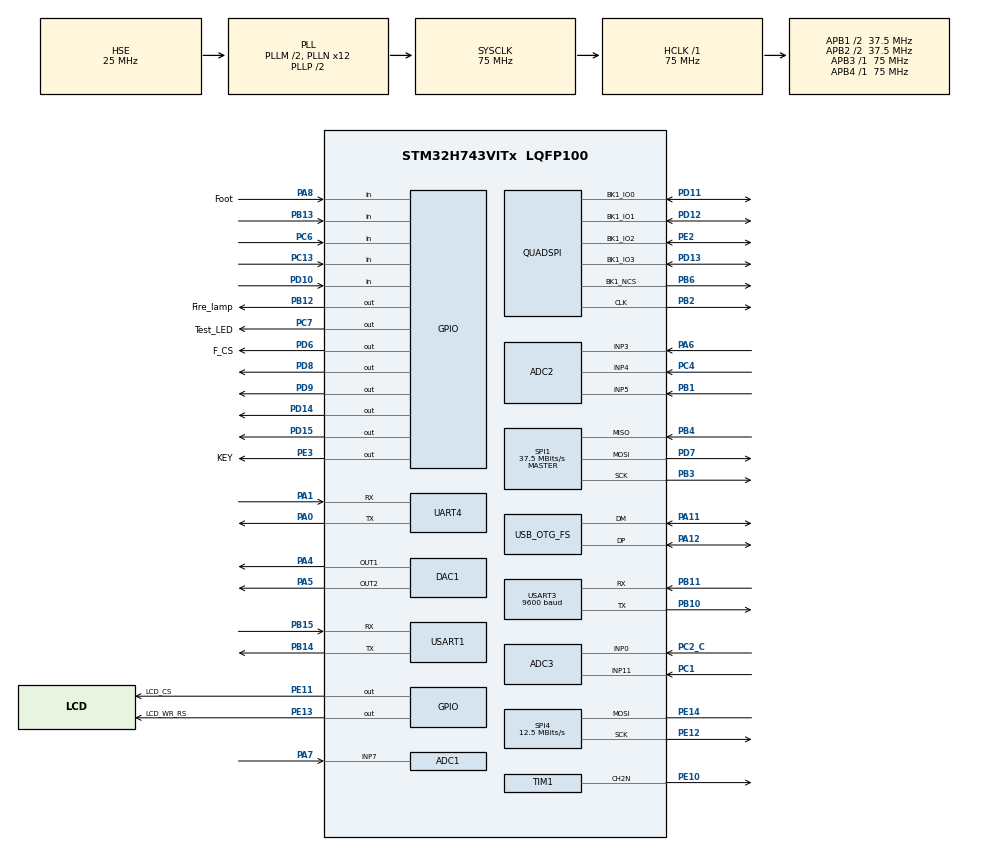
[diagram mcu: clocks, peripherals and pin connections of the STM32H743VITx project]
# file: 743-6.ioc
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ADC1.Channel-3\#ChannelRegularConversion=ADC_CHANNEL_7
ADC1.ClockPrescaler=ADC_CLOCK_ASYNC_DIV4
ADC1.NbrOfConversionFlag=1
ADC1.OffsetNumber-3\#ChannelRegularConversion=ADC_OFFSET_NONE
ADC1.OffsetSignedSaturation-3\#ChannelRegularConversion=DISABLE
ADC1.Rank-3\#ChannelRegularConversion=1
ADC1.SamplingTime-3\#ChannelRegularConversion=ADC_SAMPLETIME_1CYCLE_5
ADC1.master=1
ADC2.Channel-0\#ChannelRegularConversion=ADC_CHANNEL_3
ADC2.ClockPrescaler=ADC_CLOCK_ASYNC_DIV4
ADC2.NbrOfConversionFlag=1
ADC2.OffsetNumber-0\#ChannelRegularConversion=ADC_OFFSET_NONE
ADC2.OffsetSignedSaturation-0\#ChannelRegularConversion=DISABLE
ADC2.Rank-0\#ChannelRegularConversion=1
ADC2.SamplingTime-0\#ChannelRegularConversion=ADC_SAMPLETIME_1CYCLE_5
ADC3.Channel-1\#ChannelRegularConversion=ADC_CHANNEL_11
ADC3.ClockPrescaler=ADC_CLOCK_ASYNC_DIV4
ADC3.NbrOfConversionFlag=1
ADC3.OffsetNumber-1\#ChannelRegularConversion=ADC_OFFSET_NONE
ADC3.OffsetSignedSaturation-1\#ChannelRegularConversion=DISABLE
ADC3.Rank-1\#ChannelRegularConversion=1
ADC3.SamplingTime-1\#ChannelRegularConversion=ADC_SAMPLETIME_1CYCLE_5
DAC1.DAC_Channel-DAC_OUT1_ExtAndInt=DAC_CHANNEL_1
DAC1.DAC_Channel-DAC_OUT2_ExtAndInt=DAC_CHANNEL_2
FREERTOS.Tasks01=defaultTask,0,128,StartDefaultTask,Default,NULL,Dynamic,NULL,NULL;myTask02,0,256,StartTask02,Default,NULL,Dynamic,NULL,NULL;myTask03,0,128,StartTask03,Default,NULL,Dynamic,NULL,NULL;myTask04,0,128,StartTask04,Default,NULL,Dynamic,NULL,NULL;myTask05,0,128,StartTask05,Default,NULL,Dynamic,NULL,NULL;myTask06,0,128,StartTask06,Default,NULL,Dynamic,NULL,NULL;myTask07,0,128,StartTask07,Default,NULL,Dynamic,NULL,NULL;myTask08,0,128,StartTask08,Default,NULL,Dynamic,NULL,NULL
FREERTOS.configUSE_NEWLIB_REENTRANT=1
Mcu.Family=STM32H7
Mcu.Name=STM32H743VITx
Mcu.Package=LQFP100
NVIC.OTG_FS_IRQn=true\:5\:0\:true\:false\:true\:true\:false\:true
NVIC.PriorityGroup=NVIC_PRIORITYGROUP_4
NVIC.TIM17_IRQn=true\:15\:0\:false\:false\:true\:false\:false\:true
NVIC.TimeBase=TIM17_IRQn
NVIC.TimeBaseIP=TIM17
NVIC.UART4_IRQn=true\:5\:0\:false\:true\:true\:3\:true\:true\:true
NVIC.USART1_IRQn=true\:5\:0\:false\:true\:true\:1\:true\:true\:true
NVIC.USART3_IRQn=true\:5\:0\:false\:true\:true\:2\:true\:true\:true
PA0.Mode=Asynchronous
PA0.Signal=UART4_TX
PA1.Mode=Asynchronous
PA1.Signal=UART4_RX
PA11.Mode=Device_Only
PA11.Signal=USB_OTG_FS_DM
PA12.Mode=Device_Only
PA12.Signal=USB_OTG_FS_DP
PA13\ (JTMS/SWDIO).Mode=Serial_Wire
PA13\ (JTMS/SWDIO).Signal=DEBUG_JTMS-SWDIO
PA14\ (JTCK/SWCLK).Mode=Serial_Wire
PA14\ (JTCK/SWCLK).Signal=DEBUG_JTCK-SWCLK
PA4.Signal=COMP_DAC11_group
PA5.Signal=COMP_DAC12_group
PA6.Signal=ADCx_INP3
PA7.Signal=ADCx_INP7
PA8.GPIO_Label=Foot
PA8.Signal=GPIO_Input
PB1.Signal=ADCx_INP5
PB10.Mode=Asynchronous
PB10.Signal=USART3_TX
PB11.Mode=Asynchronous
PB11.Signal=USART3_RX
PB12.GPIO_Label=Fire_lamp
PB12.Signal=GPIO_Output
PB13.Signal=GPIO_Input
PB14.Mode=Asynchronous
PB14.Signal=USART1_TX
PB15.Mode=Asynchronous
PB15.Signal=USART1_RX
PB2.GPIO_Speed=GPIO_SPEED_FREQ_VERY_HIGH
PB2.Mode=Single Bank 1
PB2.Signal=QUADSPI_CLK
PB3\ (JTDO/TRACESWO).GPIO_Speed=GPIO_SPEED_FREQ_MEDIUM
PB3\ (JTDO/TRACESWO).Mode=Full_Duplex_Master
PB3\ (JTDO/TRACESWO).Signal=SPI1_SCK
PB4\ (NJTRST).GPIO_Speed=GPIO_SPEED_FREQ_MEDIUM
PB4\ (NJTRST).Mode=Full_Duplex_Master
PB4\ (NJTRST).Signal=SPI1_MISO
PB6.GPIO_FM6=SYSCFG_PMCR_I2C_PB6_FMP
PB6.GPIO_Speed=GPIO_SPEED_FREQ_VERY_HIGH
PB6.Mode=Single Bank 1
PB6.Signal=QUADSPI_BK1_NCS
PC1.Signal=ADCx_INP11
PC10.Signal=SDMMC1_D2
PC11.Signal=SDMMC1_D3
PC12.Signal=SDMMC1_CK
PC13.Signal=GPIO_Input
PC14-OSC32_IN\ (OSC32_IN).Mode=LSE-External-Oscillator
PC14-OSC32_IN\ (OSC32_IN).Signal=RCC_OSC32_IN
PC15-OSC32_OUT\ (OSC32_OUT).Mode=LSE-External-Oscillator
PC15-OSC32_OUT\ (OSC32_OUT).Signal=RCC_OSC32_OUT
PC2_C.Mode=IN0-Single-Ended
PC2_C.Signal=ADC3_INP0
PC4.Signal=ADCx_INP4
PC6.Signal=GPIO_Input
PC7.GPIO_Label=Test_LED
PC7.GPIO_PuPd=GPIO_PULLDOWN
PC7.PinState=GPIO_PIN_RESET
PC7.Signal=GPIO_Output
PC8.Signal=SDMMC1_D0
PC9.Signal=SDMMC1_D1
PD10.Signal=GPIO_Input
PD11.GPIO_Speed=GPIO_SPEED_FREQ_VERY_HIGH
PD11.Mode=Single Bank 1
PD11.Signal=QUADSPI_BK1_IO0
PD12.GPIO_Speed=GPIO_SPEED_FREQ_VERY_HIGH
PD12.Mode=Single Bank 1
PD12.Signal=QUADSPI_BK1_IO1
PD13.GPIO_Speed=GPIO_SPEED_FREQ_VERY_HIGH
PD13.Mode=Single Bank 1
PD13.Signal=QUADSPI_BK1_IO3
PD14.Signal=GPIO_Output
PD15.Signal=GPIO_Output
PD2.Signal=SDMMC1_CMD
PD6.GPIO_Label=F_CS
PD6.GPIO_Speed=GPIO_SPEED_FREQ_VERY_HIGH
PD6.PinState=GPIO_PIN_SET
PD6.Signal=GPIO_Output
PD7.GPIO_Speed=GPIO_SPEED_FREQ_MEDIUM
PD7.Mode=Full_Duplex_Master
PD7.Signal=SPI1_MOSI
PD8.Signal=GPIO_Output
PD9.Signal=GPIO_Output
PE10.Mode=PWM Generation2 CH2N
PE10.Signal=TIM1_CH2N
PE11.GPIO_Label=LCD_CS
PE11.GPIO_Speed=GPIO_SPEED_FREQ_VERY_HIGH
PE11.PinState=GPIO_PIN_SET
PE11.Signal=GPIO_Output
PE12.GPIO_Speed=GPIO_SPEED_FREQ_MEDIUM
PE12.Mode=Simplex_Bidirectional_Master
PE12.Signal=SPI4_SCK
PE13.GPIO_Label=LCD_WR_RS
PE13.GPIO_Speed=GPIO_SPEED_FREQ_VERY_HIGH
PE13.PinState=GPIO_PIN_SET
PE13.Signal=GPIO_Output
PE14.GPIO_Speed=GPIO_SPEED_FREQ_MEDIUM
PE14.Mode=Simplex_Bidirectional_Master
PE14.Signal=SPI4_MOSI
PE2.GPIO_Speed=GPIO_SPEED_FREQ_VERY_HIGH
PE2.Mode=Single Bank 1
PE2.Signal=QUADSPI_BK1_IO2
PE3.GPIO_Label=KEY
PE3.Signal=GPIO_Output
PH0-OSC_IN\ (PH0).Mode=HSE-External-Oscillator
PH0-OSC_IN\ (PH0).Signal=RCC_OSC_IN
PH1-OSC_OUT\ (PH1).Mode=HSE-External-Oscillator
PH1-OSC_OUT\ (PH1).Signal=RCC_OSC_OUT
ProjectManager.HeapSize=0x2000
ProjectManager.StackSize=0x2000
ProjectManager.TargetToolchain=STM32CubeIDE
QUADSPI.ChipSelectHighTime=QSPI_CS_HIGH_TIME_3_CYCLE
QUADSPI.ClockMode=QSPI_CLOCK_MODE_3
QUADSPI.ClockPrescaler=2-1
QUADSPI.FlashSize=23-1
QUADSPI.SampleShifting=QSPI_SAMPLE_SHIFTING_HALFCYCLE
RCC.ADCFreq_Value=37500000
RCC.APB1Freq_Value=37500000
RCC.APB2Freq_Value=37500000
RCC.APB3Freq_Value=75000000
RCC.APB4Freq_Value=75000000
RCC.CortexFreq_Value=75000000
RCC.D2PPRE1=RCC_APB1_DIV2
RCC.D2PPRE2=RCC_APB2_DIV2
RCC.DIVM1=2
RCC.DIVM2=2
RCC.DIVM3=2
RCC.DIVN1=12
RCC.DIVN2=12
RCC.DIVN3=12
RCC.DIVP2=4
RCC.DIVP3=5
RCC.DIVQ3=3
RCC.HCLKFreq_Value=75000000
RCC.PLL2FRACN=0
RCC.PLL3FRACN=0
RCC.PLLFRACN=0
RCC.PLLSourceVirtual=RCC_PLLSOURCE_HSE
RCC.RTCClockSelection=RCC_RTCCLKSOURCE_LSE
RCC.SYSCLKFreq_VALUE=75000000
RCC.SYSCLKSource=RCC_SYSCLKSOURCE_PLLCLK
RCC.Spi45ClockSelection=RCC_SPI45CLKSOURCE_PLL3
RCC.SupplySource=PWR_LDO_SUPPLY
RCC.USBCLockSelection=RCC_USBCLKSOURCE_PLL3
RCC.USBFreq_Value=50000000
RTC.HourFormat=RTC_HOURFORMAT_12
SH.ADCx_INP11.0=ADC3_INP11,IN11-Single-Ended
SH.ADCx_INP3.0=ADC2_INP3,IN3-Single-Ended
SH.ADCx_INP4.0=ADC2_INP4,IN4-Single-Ended
SH.ADCx_INP5.0=ADC2_INP5,IN5-Single-Ended
SH.ADCx_INP7.0=ADC1_INP7,IN7-Single-Ended
SH.COMP_DAC11_group.0=DAC1_OUT1,DAC_OUT1_ExtAndInt
SH.COMP_DAC12_group.0=DAC1_OUT2,DAC_OUT2_ExtAndInt
SPI1.BaudRatePrescaler=SPI_BAUDRATEPRESCALER_2
SPI1.CLKPolarity=SPI_POLARITY_LOW
SPI1.CalculateBaudRate=37.5 MBits/s
SPI1.DataSize=SPI_DATASIZE_8BIT
SPI1.Direction=SPI_DIRECTION_2LINES
SPI1.Mode=SPI_MODE_MASTER
SPI1.VirtualType=VM_MASTER
SPI4.BaudRatePrescaler=SPI_BAUDRATEPRESCALER_4
SPI4.CLKPolarity=SPI_POLARITY_LOW
SPI4.CalculateBaudRate=12.5 MBits/s
SPI4.DataSize=SPI_DATASIZE_8BIT
SPI4.Direction=SPI_DIRECTION_1LINE
SPI4.Mode=SPI_MODE_MASTER
SPI4.VirtualType=VM_MASTER
TIM1.Channel-PWM\ Generation2\ CH2N=TIM_CHANNEL_2
TIM1.OCNPolarity_2=TIM_OCNPOLARITY_LOW
TIM1.Period=100-1
TIM1.Prescaler=120-1
USART1.VirtualMode-Asynchronous=VM_ASYNC
USART3.BaudRate=9600
USART3.VirtualMode-Asynchronous=VM_ASYNC
USB_DEVICE.CLASS_NAME_FS=CDC
USB_DEVICE.VirtualMode-CDC_FS=Cdc
USB_DEVICE.VirtualModeFS=Cdc_FS
USB_OTG_FS.VirtualMode=Device_Only
USB_OTG_FS.dma_enable=ENABLE
VP_FREERTOS_VS_CMSIS_V1.Mode=CMSIS_V1
VP_RTC_VS_RTC_Activate.Mode=RTC_Enabled
VP_SYS_VS_tim17.Mode=TIM17
VP_USB_DEVICE_VS_USB_DEVICE_CDC_FS.Mode=CDC_FS
board=custom

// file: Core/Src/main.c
/* USER CODE BEGIN Header */
/**
  ******************************************************************************
  * @file           : main.c
  * @brief          : Main program body
  ******************************************************************************
  * @attention
  *
  * <h2><center>&copy; Copyright (c) 2021 STMicroelectronics.
  * All rights reserved.</center></h2>
  *
  * This software component is licensed by ST under Ultimate Liberty license
  * SLA0044, the "License"; You may not use this file except in compliance with
  * the License. You may obtain a copy of the License at:
  *                             www.st.com/SLA0044
  *
  ******************************************************************************
  */
/* USER CODE END Header */
#include "main.h"
#include "cmsis_os.h"
#include "adc.h"
#include "dac.h"
#include "rtc.h"
#include "spi.h"
#include "tim.h"
#include "usart.h"
#include "usb_device.h"
#include "gpio.h"

/* USER CODE BEGIN Includes */
#include "lcd.h"
#include <stdio.h>
#include <usbd_cdc_if.h>
#include "sound.h"

#include <time.h>
#include <stdlib.h>
#include <string.h>
// #include "parameter.h"

/* USER CODE END Includes */

/* USER CODE BEGIN PTD */
//void init_uart(uart_t *u);

/* USER CODE END PTD */

void SystemClock_Config(void);
void PeriphCommonClock_Config(void);
void MX_FREERTOS_Init(void);
static void MX_NVIC_Init(void);
/* USER CODE BEGIN PFP */

int _write(int fd, char *str, int len) {
	CDC_Transmit_FS((uint8_t*)str, len);
	return len;
}

/*
int _write(int file, unsigned char* p, int len)
{
	HAL_StatusTypeDef status= HAL_UART_Transmit(&huart3, p, len,100);
	return(status == HAL_OK? len :0);
}
*/
/* USER CODE END PFP */

/* USER CODE BEGIN 0 */
static void CPU_CACHE_Enable(void)
{
  /* Enable I-Cache */
  SCB_EnableICache();

  /* Enable D-Cache */
  SCB_EnableDCache();
}

static void LED_Blink(uint32_t Hdelay,uint32_t Ldelay)
{
	HAL_GPIO_WritePin(KEY_GPIO_Port,KEY_Pin,GPIO_PIN_SET);
	HAL_Delay(Hdelay - 1);
	HAL_GPIO_WritePin(KEY_GPIO_Port,KEY_Pin,GPIO_PIN_RESET);
	HAL_Delay(Ldelay-1);
}

void init_uart(uart_t *u)
{
	u->head = 0;
	u->tail = 0;
	memset(u->buffer, 0, sizeof(u->buffer));
}

/**
  * @brief  Get the current time and date.
  * @param
  * @retval None
  */

/* USER CODE END 0 */

int main(void)
{
  /* USER CODE BEGIN 1 */

	HAL_Init();

#ifdef W25Qxx
  SCB->VTOR = QSPI_BASE;
#endif
//MPU_Config();
//CPU_CACHE_Enable();

  /* USER CODE END 1 */

  /* MCU Configuration--------------------------------------------------------*/

  /* Reset of all peripherals, Initializes the Flash interface and the Systick. */
  HAL_Init();

  /* Configure the system clock */
  SystemClock_Config();

/* Configure the peripherals common clocks */
  PeriphCommonClock_Config();

  /* USER CODE BEGIN SysInit */
	uint8_t text[20];
	RTC_DateTypeDef sdatestructureget  ;
	RTC_TimeTypeDef stimestructureget  ;
  /* USER CODE END SysInit */

  /* Initialize all configured peripherals */
  MX_GPIO_Init();
  MX_RTC_Init();
  MX_SPI1_Init();
  MX_SPI4_Init();
  MX_TIM1_Init();
  MX_UART4_Init();
  MX_USART1_UART_Init();
  MX_USART3_UART_Init();
  MX_ADC3_Init();
  MX_ADC2_Init();
  MX_DAC1_Init();
  MX_ADC1_Init();

  /* Initialize interrupts */
  MX_NVIC_Init();
  /* USER CODE BEGIN 2 */
	init_uart(&uart_1);
	init_uart(&uart_4);
	HAL_UART_Receive_IT(&huart1, &rx1_data, 1);
	HAL_UART_Receive_IT(&huart4, &rx4_data, 1);

	printf("Hello \n\r");

	volume(0x15);
 	LCD_Test();
  /* USER CODE END 2 */

  /* Call init function for freertos objects (in freertos.c) */
  MX_FREERTOS_Init();
  /* Start scheduler */
  osKernelStart();

  /* We should never get here as control is now taken by the scheduler */
  /* Infinite loop */
  while (1)
  {

  }
}

void SystemClock_Config(void)
{
  RCC_OscInitTypeDef RCC_OscInitStruct = {0};
  RCC_ClkInitTypeDef RCC_ClkInitStruct = {0};

  /** Supply configuration update enable
  */
  HAL_PWREx_ConfigSupply(PWR_LDO_SUPPLY);
  /** Configure the main internal regulator output voltage
  */
  __HAL_PWR_VOLTAGESCALING_CONFIG(PWR_REGULATOR_VOLTAGE_SCALE3);

  while(!__HAL_PWR_GET_FLAG(PWR_FLAG_VOSRDY)) {}
  /** Configure LSE Drive Capability
  */
  HAL_PWR_EnableBkUpAccess();
  __HAL_RCC_LSEDRIVE_CONFIG(RCC_LSEDRIVE_LOW);
  /** Macro to configure the PLL clock source
  */
  __HAL_RCC_PLL_PLLSOURCE_CONFIG(RCC_PLLSOURCE_HSE);
  /** Initializes the RCC Oscillators according to the specified parameters
  * in the RCC_OscInitTypeDef structure.
  */
  RCC_OscInitStruct.OscillatorType = RCC_OSCILLATORTYPE_HSE|RCC_OSCILLATORTYPE_LSE;
  RCC_OscInitStruct.HSEState = RCC_HSE_ON;
  RCC_OscInitStruct.LSEState = RCC_LSE_ON;
  RCC_OscInitStruct.PLL.PLLState = RCC_PLL_ON;
  RCC_OscInitStruct.PLL.PLLSource = RCC_PLLSOURCE_HSE;
  RCC_OscInitStruct.PLL.PLLM = 2;
  RCC_OscInitStruct.PLL.PLLN = 12;
  RCC_OscInitStruct.PLL.PLLP = 2;
  RCC_OscInitStruct.PLL.PLLQ = 2;
  RCC_OscInitStruct.PLL.PLLR = 2;
  RCC_OscInitStruct.PLL.PLLRGE = RCC_PLL1VCIRANGE_3;
  RCC_OscInitStruct.PLL.PLLVCOSEL = RCC_PLL1VCOMEDIUM;
  RCC_OscInitStruct.PLL.PLLFRACN = 0;
  if (HAL_RCC_OscConfig(&RCC_OscInitStruct) != HAL_OK)
  {
    Error_Handler();
  }
  /** Initializes the CPU, AHB and APB buses clocks
  */
  RCC_ClkInitStruct.ClockType = RCC_CLOCKTYPE_HCLK|RCC_CLOCKTYPE_SYSCLK
                              |RCC_CLOCKTYPE_PCLK1|RCC_CLOCKTYPE_PCLK2
                              |RCC_CLOCKTYPE_D3PCLK1|RCC_CLOCKTYPE_D1PCLK1;
  RCC_ClkInitStruct.SYSCLKSource = RCC_SYSCLKSOURCE_PLLCLK;
  RCC_ClkInitStruct.SYSCLKDivider = RCC_SYSCLK_DIV1;
  RCC_ClkInitStruct.AHBCLKDivider = RCC_HCLK_DIV1;
  RCC_ClkInitStruct.APB3CLKDivider = RCC_APB3_DIV1;
  RCC_ClkInitStruct.APB1CLKDivider = RCC_APB1_DIV2;
  RCC_ClkInitStruct.APB2CLKDivider = RCC_APB2_DIV2;
  RCC_ClkInitStruct.APB4CLKDivider = RCC_APB4_DIV1;

  if (HAL_RCC_ClockConfig(&RCC_ClkInitStruct, FLASH_LATENCY_1) != HAL_OK)
  {
    Error_Handler();
  }
}

void PeriphCommonClock_Config(void)
{
  RCC_PeriphCLKInitTypeDef PeriphClkInitStruct = {0};

  /** Initializes the peripherals clock
  */
  PeriphClkInitStruct.PeriphClockSelection = RCC_PERIPHCLK_USB|RCC_PERIPHCLK_ADC
                              |RCC_PERIPHCLK_SPI4;
  PeriphClkInitStruct.PLL2.PLL2M = 2;
  PeriphClkInitStruct.PLL2.PLL2N = 12;
  PeriphClkInitStruct.PLL2.PLL2P = 4;
  PeriphClkInitStruct.PLL2.PLL2Q = 2;
  PeriphClkInitStruct.PLL2.PLL2R = 2;
  PeriphClkInitStruct.PLL2.PLL2RGE = RCC_PLL2VCIRANGE_3;
  PeriphClkInitStruct.PLL2.PLL2VCOSEL = RCC_PLL2VCOMEDIUM;
  PeriphClkInitStruct.PLL2.PLL2FRACN = 0;
  PeriphClkInitStruct.PLL3.PLL3M = 2;
  PeriphClkInitStruct.PLL3.PLL3N = 12;
  PeriphClkInitStruct.PLL3.PLL3P = 5;
  PeriphClkInitStruct.PLL3.PLL3Q = 3;
  PeriphClkInitStruct.PLL3.PLL3R = 2;
  PeriphClkInitStruct.PLL3.PLL3RGE = RCC_PLL3VCIRANGE_3;
  PeriphClkInitStruct.PLL3.PLL3VCOSEL = RCC_PLL3VCOMEDIUM;
  PeriphClkInitStruct.PLL3.PLL3FRACN = 0;
  PeriphClkInitStruct.Spi45ClockSelection = RCC_SPI45CLKSOURCE_PLL3;
  PeriphClkInitStruct.UsbClockSelection = RCC_USBCLKSOURCE_PLL3;
  PeriphClkInitStruct.AdcClockSelection = RCC_ADCCLKSOURCE_PLL2;
  if (HAL_RCCEx_PeriphCLKConfig(&PeriphClkInitStruct) != HAL_OK)
  {
    Error_Handler();
  }
}

/**
  * @brief NVIC Configuration.
  * @retval None
  */
static void MX_NVIC_Init(void)
{
  /* USART1_IRQn interrupt configuration */
  HAL_NVIC_SetPriority(USART1_IRQn, 5, 0);
  HAL_NVIC_EnableIRQ(USART1_IRQn);
  /* USART3_IRQn interrupt configuration */
  HAL_NVIC_SetPriority(USART3_IRQn, 5, 0);
  HAL_NVIC_EnableIRQ(USART3_IRQn);
  /* UART4_IRQn interrupt configuration */
  HAL_NVIC_SetPriority(UART4_IRQn, 5, 0);
  HAL_NVIC_EnableIRQ(UART4_IRQn);
}

void HAL_TIM_PeriodElapsedCallback(TIM_HandleTypeDef *htim)
{
  if (htim->Instance == TIM17) {
    HAL_IncTick();
  }
}

void Error_Handler(void)
{
  __disable_irq();
  while (1)
  {
  }
}

/************************ (C) COPYRIGHT STMicroelectronics *****END OF FILE****/

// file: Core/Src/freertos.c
/* USER CODE BEGIN Header */
/**
  ******************************************************************************
  * File Name          : freertos.c
  * Description        : Code for freertos applications
  ******************************************************************************
  * @attention
  *
  * <h2><center>&copy; Copyright (c) 2021 STMicroelectronics.
  * All rights reserved.</center></h2>
  *
  * This software component is licensed by ST under Ultimate Liberty license
  * SLA0044, the "License"; You may not use this file except in compliance with
  * the License. You may obtain a copy of the License at:
  *                             www.st.com/SLA0044
  *
  ******************************************************************************
  */
/* USER CODE END Header */

#include "FreeRTOS.h"
#include "task.h"
#include "main.h"
#include "cmsis_os.h"

/* USER CODE BEGIN Includes */
#include "rtc.h"
#include "usart.h"
#include "parameter.h"
#include "hardware.h"

/* USER CODE END Includes */

/* USER CODE BEGIN PTD */
	uint8_t text[20];
	RTC_DateTypeDef sdatestructureget  ;
	RTC_TimeTypeDef stimestructureget  ;
/* USER CODE END PTD */

/* USER CODE BEGIN PD */

	void push(uart_t *u, uint8_t data);
	uint8_t pop(uart_t *u);
	uint8_t isEmpty(uart_t *u);
	float ttt;
/* USER CODE END PD */

osThreadId defaultTaskHandle;
osThreadId myTask02Handle;
osThreadId myTask03Handle;
osThreadId myTask04Handle;
osThreadId myTask05Handle;
osThreadId myTask06Handle;
osThreadId myTask07Handle;
osThreadId myTask08Handle;

/* USER CODE BEGIN FunctionPrototypes */

static void RTC_CalendarShow(RTC_DateTypeDef *sdatestructureget,RTC_TimeTypeDef *stimestructureget)
{
   /* Both time and date must be obtained or RTC cannot be read next time */
  /* Get the RTC current Time */
  HAL_RTC_GetTime(&hrtc, stimestructureget, RTC_FORMAT_BIN);
  /* Get the RTC current Date */
  HAL_RTC_GetDate(&hrtc, sdatestructureget, RTC_FORMAT_BIN);
}
/* USER CODE END FunctionPrototypes */

void StartDefaultTask(void const * argument);
void StartTask02(void const * argument);
void StartTask03(void const * argument);
void StartTask04(void const * argument);
void StartTask05(void const * argument);
void StartTask06(void const * argument);
void StartTask07(void const * argument);
void StartTask08(void const * argument);

extern void MX_USB_DEVICE_Init(void);
void MX_FREERTOS_Init(void); /* (MISRA C 2004 rule 8.1) */

/* GetIdleTaskMemory prototype (linked to static allocation support) */
void vApplicationGetIdleTaskMemory( StaticTask_t **ppxIdleTaskTCBBuffer, StackType_t **ppxIdleTaskStackBuffer, uint32_t *pulIdleTaskStackSize );

/* USER CODE BEGIN GET_IDLE_TASK_MEMORY */
static StaticTask_t xIdleTaskTCBBuffer;
static StackType_t xIdleStack[configMINIMAL_STACK_SIZE];

void vApplicationGetIdleTaskMemory( StaticTask_t **ppxIdleTaskTCBBuffer, StackType_t **ppxIdleTaskStackBuffer, uint32_t *pulIdleTaskStackSize )
{
  *ppxIdleTaskTCBBuffer = &xIdleTaskTCBBuffer;
  *ppxIdleTaskStackBuffer = &xIdleStack[0];
  *pulIdleTaskStackSize = configMINIMAL_STACK_SIZE;
  /* place for user code */
}

/* USER CODE END GET_IDLE_TASK_MEMORY */

void MX_FREERTOS_Init(void) {

  /* Create the thread(s) */
  /* definition and creation of defaultTask */
  osThreadDef(defaultTask, StartDefaultTask, osPriorityNormal, 0, 128);
  defaultTaskHandle = osThreadCreate(osThread(defaultTask), NULL);

  /* definition and creation of myTask02 */
  osThreadDef(myTask02, StartTask02, osPriorityNormal, 0, 256);
  myTask02Handle = osThreadCreate(osThread(myTask02), NULL);

  /* definition and creation of myTask03 */
  osThreadDef(myTask03, StartTask03, osPriorityNormal, 0, 128);
  myTask03Handle = osThreadCreate(osThread(myTask03), NULL);

  /* definition and creation of myTask04 */
  osThreadDef(myTask04, StartTask04, osPriorityNormal, 0, 128);
  myTask04Handle = osThreadCreate(osThread(myTask04), NULL);

  /* definition and creation of myTask05 */
  osThreadDef(myTask05, StartTask05, osPriorityNormal, 0, 128);
  myTask05Handle = osThreadCreate(osThread(myTask05), NULL);

  /* definition and creation of myTask06 */
  osThreadDef(myTask06, StartTask06, osPriorityNormal, 0, 128);
  myTask06Handle = osThreadCreate(osThread(myTask06), NULL);

  /* definition and creation of myTask07 */
  osThreadDef(myTask07, StartTask07, osPriorityNormal, 0, 128);
  myTask07Handle = osThreadCreate(osThread(myTask07), NULL);

  /* definition and creation of myTask08 */
  osThreadDef(myTask08, StartTask08, osPriorityNormal, 0, 128);
  myTask08Handle = osThreadCreate(osThread(myTask08), NULL);

}

void StartDefaultTask(void const * argument)
{
  /* init code for USB_DEVICE */
  MX_USB_DEVICE_Init();
  /* USER CODE BEGIN StartDefaultTask */
  /* Infinite loop */
  for(;;)
  {
		 HAL_GPIO_TogglePin( GPIOB, GPIO_PIN_12);
		 HAL_GPIO_TogglePin( GPIOE, GPIO_PIN_3);

	//	 HAL_UART_Transmit(&huart4, GUI_sum_mode,sizeof(GUI_sum_mode), 100);

    osDelay(50);
  }
  /* USER CODE END StartDefaultTask */
}

void StartTask02(void const * argument)
{
  /* USER CODE BEGIN StartTask02 */
	/* Infinite loop */
	uint8_t Key_memo;
	//	bool count_energy;
	uint16_t Dwin_mess;

	while (1)
	{

		if (Rx_recv)   //DWIN string is get completely
		{
			Rx_recv = 0;   //confirmed Rx_rec
			GUI_boot = true;

			Dwin_mess = (Rx1_Buffer[4] << 8) + Rx1_Buffer[5];

			switch (Dwin_mess)
			{
			//Take VP from receive data

			case (0x0F):     // Check LCD power on?
								GUI_boot = true;
			break;

			case (0x0014): //Read no of page on work
								page = Rx1_Buffer[8];
			break;

			case (0x1400):  //STOP, READY  Variable GUI
				if (!Ready)
				{ //STOP
					Ready = 1;
					// play(S_ready);  //Ready
					osDelay(200);
					HAL_GPIO_WritePin(GPIOB, GPIO_PIN_14, GPIO_PIN_RESET); //Interloc
					HAL_GPIO_WritePin(GPIOC, GPIO_PIN_0, GPIO_PIN_SET); // AKELA pointer
					HAL_UART_Transmit(&huart1, GUI_stop, sizeof(GUI_stop), 100);
				}
				else if (Ready)
				{ //READY
					Ready = 0;
					// play(S_stop);  //Stop
					osDelay(200);
	//				// GUI_ready2stop();
				}
			break;

			case (0x1240):  //TONING Page switching
			Stamp = 0;
			// play(S_toning); //Toning sound
			//  EEPROM_Read(Last_mode); //save current mode
			// // show_parameter_toning();
			//  show_ST_key_value();
			// // GUI_ready2stop();
			break;

			case (0x1250):  //STAMP page switching
			Stamp = 1;
			// play(S_stamp);  //Stamp
			//  EEPROM_Read(Last_mode);  //save current mode
			// show_parameter_stamp();
			//  show_ST_key_value();
			// // GUI_ready2stop();
			break;

			// ===  Jump to Stamp mode from Monitor mode
			case (0x1296):
			// play(S_Beek);
			Monitor = 0;

			Stamp = 1;
			// play(S_stamp);  //Stamp
			//  EEPROM_Read(Last_mode);  //save current mode
			// show_parameter_stamp();
			//  show_ST_key_value();
			// // GUI_ready2stop(); // clear "ready" state

			GUI_mon_Laser_ON[7] = 1; //Laser OFF
			HAL_UART_Transmit(&huart1, GUI_mon_Laser_ON, sizeof(GUI_mon_Laser_ON), 100);

			// Stop "Laser ON" over Monitor mode
		//	HAL_DAC_SetValue(&hdac, DAC_CHANNEL_1, DAC_ALIGN_12B_R, 0);
		//	HAL_DAC_Stop(&hdac, DAC_CHANNEL_1);
			HAL_GPIO_WritePin( GPIOB, GPIO_PIN_14, GPIO_PIN_SET); // Interlock stop
			HAL_GPIO_WritePin( GPIOA, GPIO_PIN_7, GPIO_PIN_RESET); // Enable Stop
			HAL_GPIO_WritePin( GPIOB, GPIO_PIN_2, GPIO_PIN_RESET); //Fire lamp Off

			GUI_sum_mode[7] = 1;
			HAL_UART_Transmit(&huart1, GUI_sum_mode,sizeof(GUI_sum_mode), 100);

			vTaskSuspend(myTask05Handle);	 // STOP DefaultTask
			break;

			// ===  Move to Monitor mode
			case (0x1298):
			// play(S_Beek);
			Monitor = true;
			// // GUI_ready2stop(); // clear "ready" state

			GUI_mon_Laser_ON[7] = 1;  //Laser OFF
			HAL_UART_Transmit(&huart1, GUI_mon_Laser_ON, sizeof(GUI_mon_Laser_ON), 100);

			GUI_mon_power[6] = 0;     //Start monitor page with Power = 0
			GUI_mon_power[7] = 0;
			HAL_UART_Transmit(&huart1, GUI_mon_power, sizeof(GUI_mon_power),100);//show power0~6

			// Stop "Laser ON" over Monitor mode
	//		HAL_DAC_SetValue(&hdac, DAC_CHANNEL_1, DAC_ALIGN_12B_R, 0);
	//		HAL_DAC_Stop(&hdac, DAC_CHANNEL_1);
			HAL_GPIO_WritePin( GPIOB, GPIO_PIN_14, GPIO_PIN_SET); // Interlock stop
			HAL_GPIO_WritePin( GPIOA, GPIO_PIN_7, GPIO_PIN_RESET); // Enable Stop
			HAL_GPIO_WritePin( GPIOB, GPIO_PIN_2, GPIO_PIN_RESET); //Fire lamp Off

			vTaskResume(myTask05Handle);   // Strat Monitoring Task(5)
			break;

			// ===  Laser ON at Monitor mode
			case (0x1340):
				if (!Laser_ON)
				{
					Laser_ON = 1;
					// play(S_ready);  //Ready
					osDelay(200);
					HAL_GPIO_WritePin(GPIOB, GPIO_PIN_14, GPIO_PIN_RESET); //Interloc
					HAL_GPIO_WritePin(GPIOC, GPIO_PIN_0, GPIO_PIN_SET); // AKELA pointer
					GUI_mon_Laser_ON[7] = 0;
					HAL_UART_Transmit(&huart1, GUI_mon_Laser_ON, sizeof(GUI_mon_Laser_ON), 100);
				}
				else
				{
					Laser_ON = 0;
					// play(S_stop);  //Stop
					osDelay(200);
					GUI_mon_Laser_ON[7] = 1;
					HAL_UART_Transmit(&huart1, GUI_mon_Laser_ON, sizeof(GUI_mon_Laser_ON), 100);
					HAL_GPIO_WritePin( GPIOB, GPIO_PIN_14, GPIO_PIN_SET); //Interlock on
					HAL_GPIO_WritePin( GPIOA, GPIO_PIN_7, 0); // Enable stop
					HAL_GPIO_WritePin( GPIOC, GPIO_PIN_0, 0); // AKELA pointer Off
				}
			break;

			// ===  Increament & decrement adjustment at Monitoring
			case (0x1345):
			// play(S_Beek);
			// 5*330 = 1650:최고 DAC �?, ?��?�� HP?��?��?�� CW�? 5 W 출력?��, 330?? Cut&Try�? ?��?? �?
			Power_DAC = ((Rx1_Buffer[7] << 8) + Rx1_Buffer[8])*330;  //0~2100
			GUI_mon_power[6] = Rx1_Buffer[7];  //Last_mpower_high
			GUI_mon_power[7] = Rx1_Buffer[8];  //Last_mpower_low (real)
		//	HAL_UART_Transmit(&huart1, GUI_mon_power, sizeof(GUI_mon_power),100);//show power0~5

			//  EEPROM_Write(Last_mon_power_high, GUI_mon_power[6]);
			//  EEPROM_Write(Last_mon_power_low, GUI_mon_power[7]);

			break;

			///////////////////
			case (0x1300):  //  Increament & decrement adjustment at STAMP
			// play(S_Beek);
			//  EEPROM_Write( Last_power_high, Rx1_Buffer[7]);
			//  EEPROM_Write( Last_power_low, Rx1_Buffer[8]);
			Power_DAC = (Rx1_Buffer[7] << 8) + Rx1_Buffer[8];  ///////
			// // GUI_ready2stop();
			break;

			case (0x1305):  // Increament & decrement adjustment at Toning
			// play(S_Beek);
			//  EEPROM_Write( Last_power_high_t, Rx1_Buffer[7]);
			//  EEPROM_Write( Last_power_low_t, Rx1_Buffer[8]);
			Power_DAC_t = (Rx1_Buffer[7] << 8) + Rx1_Buffer[8];  ///////
			// // GUI_ready2stop();
			break;

			case (0x1614):  //save On_time value to eeprom
								//  EEPROM_Write( Last_on_time_high, Rx1_Buffer[7]);
			//  EEPROM_Write( Last_on_time_low, Rx1_Buffer[8]);
			On_Time = (Rx1_Buffer[7] << 8) + Rx1_Buffer[8]; ///////
			// // GUI_ready2stop();
			break;

			case (0x1615):  //save Off_time value to eeprom
								//  EEPROM_Write( Last_off_time_high, Rx1_Buffer[7]);
			//  EEPROM_Write( Last_off_time_low, Rx1_Buffer[8]);
			Off_Time = (Rx1_Buffer[7] << 8) + Rx1_Buffer[8]; ///////
			// // GUI_ready2stop();
			break;

			case (0x1260):  //Pulse value to eeprom
			//  EEPROM_Write( Last_pulse, Rx1_Buffer[8]);
			Pulse = Rx1_Buffer[8];  ///////
			// GUI_ready2stop();
			break;

			case (0x1605):  //Repeat value to eeprom
			//  EEPROM_Write( Last_repeat, Rx1_Buffer[8]);
			Repeat = Rx1_Buffer[8];
			// GUI_ready2stop();
			break;

			case (0x1280):  //Frequency value to eeprom
			//  EEPROM_Write( Last_frequency, Rx1_Buffer[8]);
			Freq = Rx1_Buffer[8];  ///////
			// GUI_ready2stop();
			break;

			case (0x1600):  //Total count value to eeprom
			//  EEPROM_Write( Last_tcount_high, Rx1_Buffer[7]);
			//  EEPROM_Write( Last_tcount_low, Rx1_Buffer[8]);
			break;

			case (0x1602):  //SOUND, MUTE Variable GUI
				if (Sound)
				{
					Sound = 0;
					// play(S_sound);  //sound
					//  EEPROM_Write( Last_sound, Sound);
					GUI_sound[7] = 0;
					HAL_UART_Transmit(&huart1, GUI_sound, sizeof(GUI_sound),100);
					volume(19);
				}
				else
				{
					Sound = true;
					// play(S_mute);  //mute
					//  EEPROM_Write( Last_sound, Sound);
					GUI_sound[7] = 1;
					HAL_UART_Transmit(&huart1, GUI_sound, sizeof(GUI_sound),100);
					volume(0);
				}
			//  EEPROM_Write( Last_sound, Sound);  //save current mode
			break;

			case (0x1603):  //FOOT, HAND Variable GUI
				if (Hand_foot)
				{
					Hand_foot = 0;
					// play(S_hand);  //hand
					GUI_foot[7] = 0;
					HAL_UART_Transmit(&huart1, GUI_foot, sizeof(GUI_foot), 100);
					//  EEPROM_Write( Last_Hand_foot, Hand_foot);
				}
				else
				{
					Hand_foot = true;
					// play(S_foot); //foot
					GUI_foot[7] = 1;
					HAL_UART_Transmit(&huart1, GUI_foot, sizeof(GUI_foot), 100);
					//  EEPROM_Write( Last_Hand_foot, Hand_foot);
				}
			break;

			//======  Select Total counter & energy  ============
			case (0x1606):  //Select between Toggle counts and Energy
				if (Count_energy)
				{
			    	Count_energy = 0;
					// play(S_total_energy);
					GUI_sum_mode[7] = 0;
					HAL_UART_Transmit(&huart1, GUI_sum_mode,sizeof(GUI_sum_mode), 100);
					//  EEPROM_Write( Last_Count_energy, Count_energy);
				}
				else
				{
					Count_energy = 1;
					// play(S_total_count);
					GUI_sum_mode[7] = 1;
					HAL_UART_Transmit(&huart1, GUI_sum_mode,sizeof(GUI_sum_mode), 100);
					//  EEPROM_Write( Last_Count_energy, Count_energy);
				}
			break;

			//======  Clear Total counter value     ============
			case (0x1608):  // Clear Total counter value
								Key_memo++;
			if (Key_memo == GUI_save_delay)
			{
				// play(S_clear);   //sound 'clear'
				sum_count = 0;
				sum_count_t = 0;
				sum_energy = 0;
				sum_energy_t = 0;
				HAL_UART_Transmit(&huart1, GUI_sum_value,sizeof(GUI_sum_value), 100);
			}
			break;
			case (0x1609): // save last parameter to EEPROM, show value on S2 key
				if (Key_memo >= GUI_save_delay)
						;
				else
						;
			Key_memo = 0;
			break;

			default:
				;   // do nothing
			}  //end of switch
			//================== End of Memory process ======================

		}   //if Rx_recv is received, it will be work.

		osDelay(Delay_task02);
	}  //for(1) loop
  /* USER CODE END StartTask02 */
}

void StartTask03(void const * argument)
{
  /* USER CODE BEGIN StartTask03 */
	/* Infinite loop */
	static uint8_t Rx_len, Rx_indx, data, Rx4_indx;

	while (1)
	{
		//============= UART-4: Hand piece ==============
		if (isEmpty(&uart_4) == 0)
		{
			data = pop(&uart_4);

			if (data != 10)   // Line feed? new line
			{
				Rx4_Buffer[Rx4_indx++] = data;
			}
			else
			{
				Rx4_Buffer[0] = 0x30; // # -> 0 clear
				HP_lens = atoi(strtok(Rx4_Buffer, " ")); //Lens 1,2,3
				HP_Temp = atoi(strtok(NULL, " ")); //Temp. sensor data
				HP_Fire = atoi(strtok(NULL, " ")); //HP switch detect

				Rx4_indx = 0;   // HP data is received
			}   //else

			if (HP_Fire)
			{
				 HAL_GPIO_WritePin( GPIOC, GPIO_PIN_7,GPIO_PIN_RESET);
			}
			else
				 HAL_GPIO_WritePin( GPIOC, GPIO_PIN_7,GPIO_PIN_SET);

    	}  //if

		//============= UART-1: DWIN LCD ==============
		if (isEmpty(&uart_1) == 0)
		{  /////Ring buffer check and get all

			data = pop(&uart_1);

			if (data == 0x5A)
			{			//Find head of string 0x5A/90
				Rx1_Buffer[0] = data;
				Rx_recv = 0;
			}
			else if (data == 0xA5)
			{	//head of string  0xA5/165
				Rx1_Buffer[1] = data;
				Rx_len = 1;			//Ready to get length of string
			}

			else if (Rx_len == 1)
			{	//Is it a length of string
				Rx1_Buffer[2] = data;
				Rx_len = 0;
				Rx_indx = 3;
			}

			else
			{
				if (Rx1_Buffer[2] > Rx_indx)
					Rx1_Buffer[Rx_indx++] = data;
				else
				{
					Rx1_Buffer[Rx_indx++] = data; //already get length of string
					Rx_recv = 1;
				}

			} //else
		}
		osDelay(Delay_task03);
	} // While(1)
  /* USER CODE END StartTask03 */
}

void StartTask04(void const * argument)
{
  /* USER CODE BEGIN StartTask04 */
  /* Infinite loop */
  for(;;)
  {
	     ttt = (float)HP_Temp/10;
	//     HAL_UART_Transmit(&huart4,  HP_Temp ,sizeof(3), 100);
	    printf("Temp = %d \r\n", HP_Temp);
    osDelay(200);
  }
  /* USER CODE END StartTask04 */
}

void StartTask05(void const * argument)
{
  for(;;)
  {
    osDelay(1);
  }
}

void StartTask06(void const * argument)
{
  for(;;)
  {
    osDelay(1);
  }
}

void StartTask07(void const * argument)
{
	/* USER CODE BEGIN StartTask07 */
	/* Infinite loop */
	uint8_t first, second;

	//=============  Temperature  ===============
	for (;;)
	{   // HP temperature detection
		first = HP_Temp >> 8;
		second = HP_Temp & 0x00FF;
		GUI_temp[6] = first;  // Disp temperature and show it on LCD
		GUI_temp[7] = second;
		HAL_UART_Transmit(&huart1, GUI_temp, sizeof(GUI_temp), 100);

		//=============  Total energy & count value ===============
		if (Count_energy)
		{
			if (Stamp)
			{
				GUI_sum_value[6] =  (sum_count) >> 24;
				GUI_sum_value[7] =  ((sum_count) >> 16) & 0xFF;
				GUI_sum_value[8] =  ((sum_count) >> 8) & 0xFF;
				GUI_sum_value[9] =  (sum_count) & 0xFF;
				HAL_UART_Transmit(&huart1, GUI_sum_value, sizeof(GUI_sum_value),
						100);
			}
			else
			{
				GUI_sum_value[6] = (sum_count_t) >> 24;
				GUI_sum_value[7] = ((sum_count_t) >> 16) & 0xFF;
				GUI_sum_value[8] = ((sum_count_t) >> 8) & 0xFF;
				GUI_sum_value[9] = (sum_count_t) & 0xFF;
				HAL_UART_Transmit(&huart1, GUI_sum_value, sizeof(GUI_sum_value),
						100);
			}
		}
		else
		{
			if (Stamp)
			{
				GUI_sum_value[6] = (sum_energy/10) >> 24;
				GUI_sum_value[7] = ((sum_energy/10) >> 16) & 0xFF;
				GUI_sum_value[8] = ((sum_energy/10) >> 8) & 0xFF;
				GUI_sum_value[9] = (sum_energy/10) & 0xFF;
				HAL_UART_Transmit(&huart1, GUI_sum_value, sizeof(GUI_sum_value),
						100);
			}
			else
			{
				GUI_sum_value[6] = (sum_energy_t/10) >> 24;
				GUI_sum_value[7] = ((sum_energy_t/10) >> 16) & 0xFF;
				GUI_sum_value[8] = ((sum_energy_t/10) >> 8) & 0xFF;
				GUI_sum_value[9] = (sum_energy_t/10) & 0xFF;
				HAL_UART_Transmit(&huart1, GUI_sum_value, sizeof(GUI_sum_value),
						100);
			}
		}

		osDelay(Delay_task07);  //500ms
	}
	/* USER CODE END StartTask07 */
}

void StartTask08(void const * argument)
{
  for(;;)
  {
    osDelay(1);
  }
}

/* USER CODE BEGIN Application */
//=============== Ring buffer =====================

void push(uart_t *u, uint8_t data)
{
	u->buffer[u->head] = data;
	u->head++;
	if (u->head >= MAX_BUFFER_SIZE)
	{
		u->head = 0;
	}
}

uint8_t pop(uart_t *u)
{
	uint8_t data = u->buffer[u->tail];
	u->tail++;
	if (u->tail >= MAX_BUFFER_SIZE)
	{
		u->tail = 0;
	}
	return data;
}

uint8_t isEmpty(uart_t *u)
{
	return u->head == u->tail;
}

void HAL_UART_RxCpltCallback(UART_HandleTypeDef *huart)
{

	if (huart->Instance == USART1)
	{
		push(&uart_1, rx1_data);  //save data to Ring buffer
		HAL_UART_Receive_IT(&huart1, &rx1_data, 1);
	}

	if (huart->Instance == UART4)
	{
		push(&uart_4, rx4_data);  //save data to Ring buffer
		HAL_UART_Receive_IT(&huart4, &rx4_data, 1);
	}

}

/* USER CODE END Application */

/************************ (C) COPYRIGHT STMicroelectronics *****END OF FILE****/
